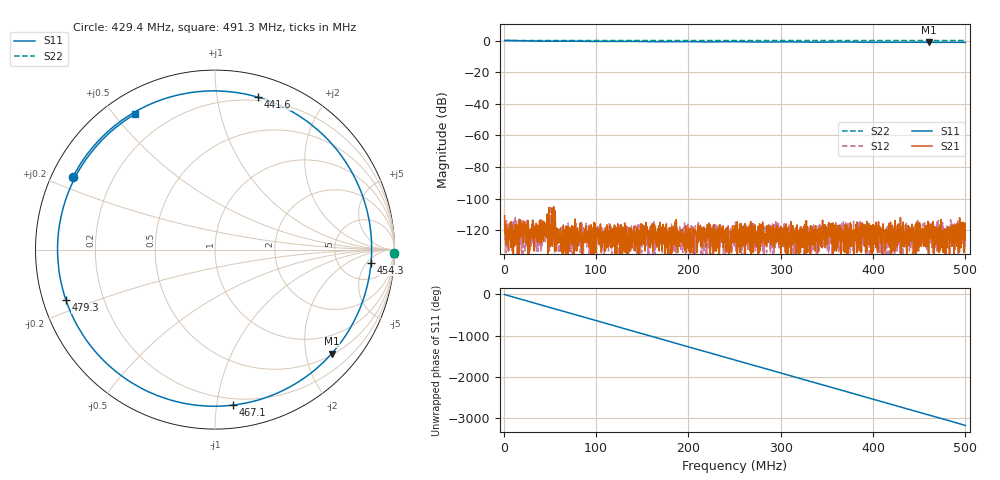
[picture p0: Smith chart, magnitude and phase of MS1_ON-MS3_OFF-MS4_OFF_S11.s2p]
! MS46122B
! 1746301/73750021
! 11/3/2023 2:41:15 PM
! C:\USERS\SPEGWAL\DOWNLOADS\SAURABH\REACH\NODES\FRONT END\MEASUREMENTS\MEASURED S-PARAMETERS_03-11-2023\MS3-MS4_MS1_CABLE\MS1_ON-MS3_OFF-MS4_OFF_S11.S2P
! CHANNEL.1
! TR.MEASUREMENT
! CORRECTED.DATA
# GHZ S RI R 50.0
! FREQ.GHZ  S11RE  S11IM  S21RE  S21IM  S12RE  S12IM  S22RE  S22IM
!; PortSelection: Port_12
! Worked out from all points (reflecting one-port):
!   2001 points, 1 MHz to 500 MHz, reference 50 ohm
!   lowest |S11| = -1.2 dB at 460.3 MHz (marker M1), VSWR 14.49, Z = 26.4 - j127 ohm
!   phase of S11 starts at -6 deg and turns -3170 deg over the sweep
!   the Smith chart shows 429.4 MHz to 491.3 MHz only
!   S11 on the Smith chart (normalised r, x): 429.4 MHz: 0.06, +0.24; 441.6 MHz: 0.17, +1.30; 454.3 MHz: 11, -7; 467.1 MHz: 0.15, -1.11; 479.3 MHz: 0.07, -0.16; 491.3 MHz: 0.09, +0.57
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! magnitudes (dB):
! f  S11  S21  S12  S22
! 1 MHz  0.0  -110.7  -117.0  0.0
! 39.92 MHz  -0.4  -120.0  -113.2  0.0
! 84.33 MHz  -0.5  -130.5  -122.8  0.0
! 129 MHz  -0.5  -133.0  -122.8  0.0
! 167.4 MHz  -0.7  -124.3  -121.4  0.0
! 191.4 MHz  -0.6  -124.0  -123.0  0.0
! 219.3 MHz  -0.9  -126.0  -133.0  0.0
! 250.5 MHz  -0.7  -116.9  -121.9  0.0
! 279.9 MHz  -1.0  -124.3  -128.9  0.0
! 308.6 MHz  -0.8  -124.7  -121.9  0.0
! 333.8 MHz  -1.1  -128.9  -130.0  0.0
! 367.3 MHz  -0.9  -120.9  -116.0  0.0
! 395.5 MHz  -1.1  -115.8  -118.9  0.0
! 416.9 MHz  -1.1  -117.1  -123.1  0.0
! 429.4 MHz  -1.0  -121.9  -120.5  0.0
! 441.6 MHz  -1.1  -127.0  -124.3  0.0
! 454.3 MHz  -1.2  -124.9  -115.6  0.0
! 460.3 MHz  -1.2  -123.1  -115.0  0.0
! 467.1 MHz  -1.2  -122.4  -121.9  0.0
! 479.3 MHz  -1.1  -119.0  -122.4  0.0
! 491.3 MHz  -1.1  -115.6  -127.7  0.0
! 500 MHz  -1.2  -126.0  -130.5  0.0
